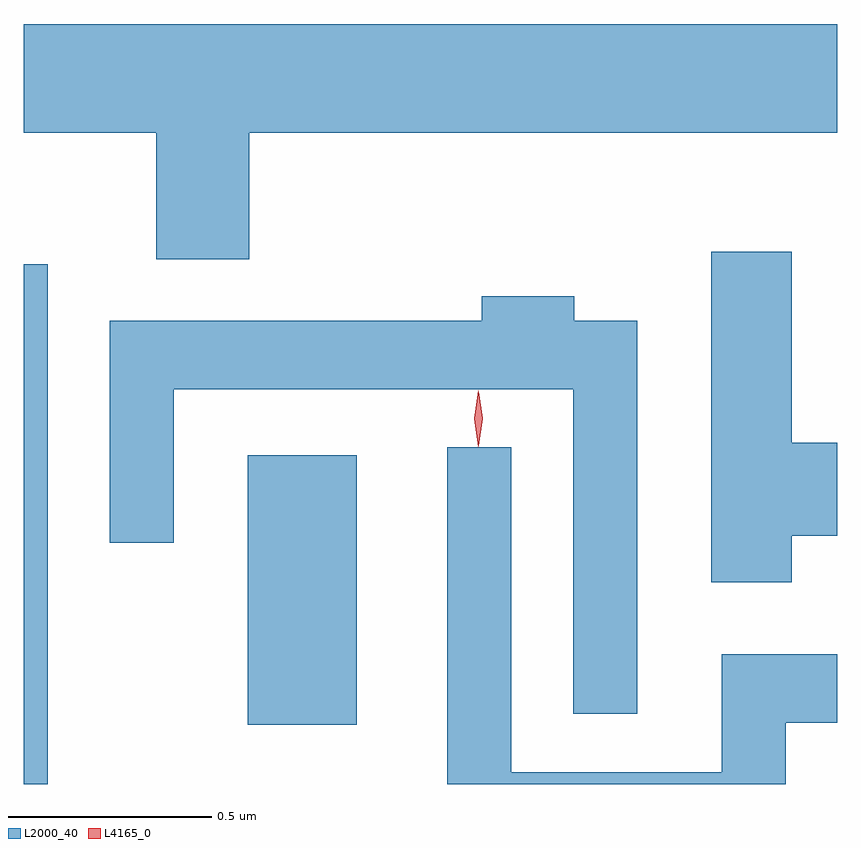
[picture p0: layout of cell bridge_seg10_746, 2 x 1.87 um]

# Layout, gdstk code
import gdstk
lib = gdstk.Library(unit=1e-6, precision=1e-09)
def R(c, l, rs):  # rectangles x0, y0, x1, y1
    for r in rs: c.add(gdstk.rectangle(r[:2], r[2:], *l))
def P(c, l, *ps):  # polygons
    for p in ps: c.add(gdstk.Polygon(p, *l))
L2000_40 = (2000, 40)
L4165_0 = (4165, 0)

bridge_seg10_746 = lib.new_cell('bridge_seg10_746')
R(bridge_seg10_746, L2000_40, [(948.795,2118.975,948.854,2120.253), (949.346,2119.121,949.614,2119.784)])
P(bridge_seg10_746, L2000_40, [(949.349,2120.576),(950.795,2120.576),(950.795,2120.844),(948.795,2120.844),(948.795,2120.576),(949.121,2120.576),(949.121,2120.266),(949.349,2120.266)],
  [(950.684,2119.586),(950.795,2119.586),(950.795,2119.814),(950.684,2119.814),(950.684,2120.284),(950.486,2120.284),(950.486,2119.471),(950.684,2119.471)],
  [(950.304,2120.114),(950.149,2120.114),(950.149,2120.174),(949.921,2120.174),(949.921,2120.114),(949.006,2120.114),(949.006,2119.568),(949.164,2119.568),(949.164,2119.946),(950.146,2119.946),(950.146,2119.148),(950.304,2119.148)],
  [(950.669,2119.126),(950.795,2119.126),(950.795,2119.294),(950.511,2119.294),(950.511,2119.004),(949.994,2119.004),(949.994,2119.803),(949.836,2119.803),(949.836,2118.975),(950.669,2118.975)])
P(bridge_seg10_746, L4165_0, [(949.913,2119.807),(949.913,2119.807),(949.903,2119.874),(949.913,2119.94),(949.913,2119.941),(949.914,2119.94),(949.923,2119.874),(949.914,2119.807)],
  [(949.913,2119.803),(949.912,2119.804),(949.903,2119.873),(949.912,2119.942),(949.913,2119.943),(949.913,2119.942),(949.923,2119.873),(949.913,2119.804)])

lib.write_gds('bridge_seg10_746.gds')
